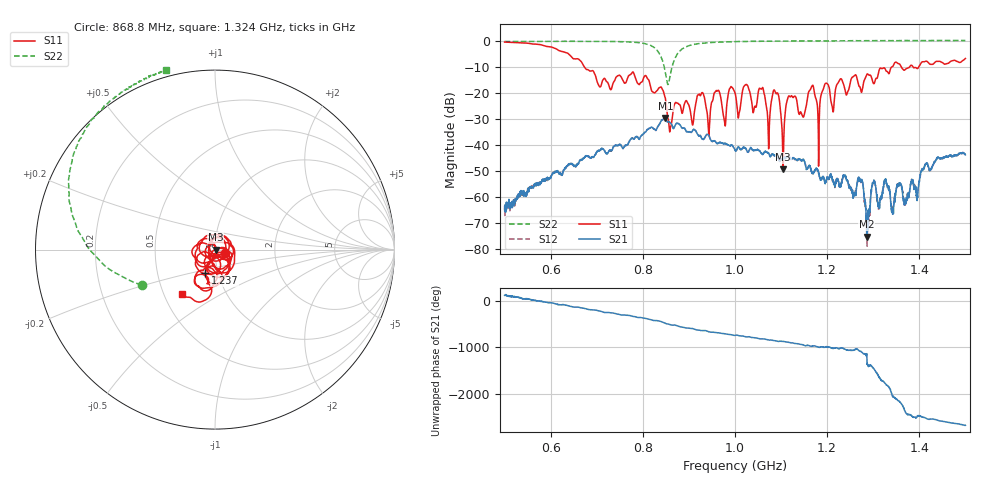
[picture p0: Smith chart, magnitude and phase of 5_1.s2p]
!Keysight Technologies,N5242B,MY48420860,A.13.80.08
!Date: Saturday, September 26, 2020 11:44:00
!Correction: S11(Full 2 Port(1,2))
!S21(Full 2 Port(1,2))
!S12(Full 2 Port(1,2))
!S22(Full 2 Port(1,2))
!S2P File: Measurements: S11, S21, S12, S22:
# Hz S  dB  R 50
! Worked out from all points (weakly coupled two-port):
!   2650 points, 500 MHz to 1.5 GHz, reference 50 ohm
!   highest |S21| = -29.53 dB at 848.8 MHz (marker M1); lowest = -75.3 dB at 1.286 GHz (marker M2)
!   lowest |S11| = -49.3 dB at 1.104 GHz (marker M3), VSWR 1.01, Z = 50.3 + j0.0462 ohm
!   |S11| at or under -10 dB: 674.1 MHz to 1.339 GHz (665 MHz wide, 66.1 % of centre); 1.361 GHz to 1.378 GHz (17.01 MHz wide, 1.24 % of centre); 1.387 GHz to 1.398 GHz (11.25 MHz wide, 0.808 % of centre)
!   |S22| runs from -16.6 to 0.4 dB; largest |S21 - S12| = 0.00037
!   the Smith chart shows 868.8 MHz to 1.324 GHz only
!   S11 on the Smith chart (normalised r, x): 868.8 MHz: 1.12, -0.05; 1.237 GHz: 0.87, -0.23; 1.324 GHz: 0.62, -0.34
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5e8  -0.25 -166.3  -64.54 118.1  -63.35 123.4  -0.01 147.3
6.026803e8  -2.20 127.2  -51.61 -43.8  -51.43 -44.7  0.01 139.0
6.668554e8  -7.91 75.5  -45.69 -153.2  -45.59 -153.3  0.02 132.6
8.337108e8  -18.19 8.4  -32.50 -72.5  -32.49 -72.4  -4.11 65.3
8.488109e8  -21.89 -56.7  -29.53 -123.5  -29.57 -123.4  -11.97 13.5
8.586259e8  -34.58 -22.7  -31.24 -151.2  -31.20 -151.1  -13.89 -106.2
8.688184e8  -24.16 -20.1  -32.84 -161.7  -32.84 -161.7  -6.86 -154.4
1.000189e9  -19.88 -124.1  -41.94 -23.6  -41.88 -24.0  -0.08 135.2
1.057569e9  -18.36 -158.8  -43.17 -100.8  -43.21 -100.8  0.06 128.1
1.072669e9  -39.36 58.0  -43.01 -123.2  -43.04 -124.6  0.08 126.4
1.088524e9  -19.94 179.6  -44.09 -142.8  -44.03 -142.5  0.12 125.1
1.104379e9  -49.29 7.7  -45.39 -154.4  -45.26 -153.8  0.13 123.4
1.116837e9  -21.03 171.1  -44.60 -177.5  -44.72 -177.5  0.15 122.3
1.147792e9  -29.17 167.0  -45.67 130.0  -45.60 131.4  0.18 119.6
1.166667e9  -17.30 -42.5  -50.44 101.3  -50.42 103.3  0.17 118.0
1.180634e9  -32.88 -140.8  -49.72 81.8  -50.37 79.8  0.18 117.0
1.236504e9  -17.05 -112.6  -51.60 46.3  -51.58 48.0  0.26 112.5
1.273122e9  -18.90 -116.7  -54.17 -11.8  -54.41 -12.7  0.26 109.6
1.286334e9  -12.60 -101.5  -75.29 -163.5  -73.80 -178.5  0.29 108.6
1.324085e9  -10.21 -125.9  -53.72 41.0  -54.97 44.5  0.30 105.3
1.333522e9  -12.40 -125.8  -55.63 -52.7  -56.27 -47.2  0.33 104.6
1.5e9  -6.58 169.2  -43.69 -163.2  -43.93 -164.6  0.35 90.9
